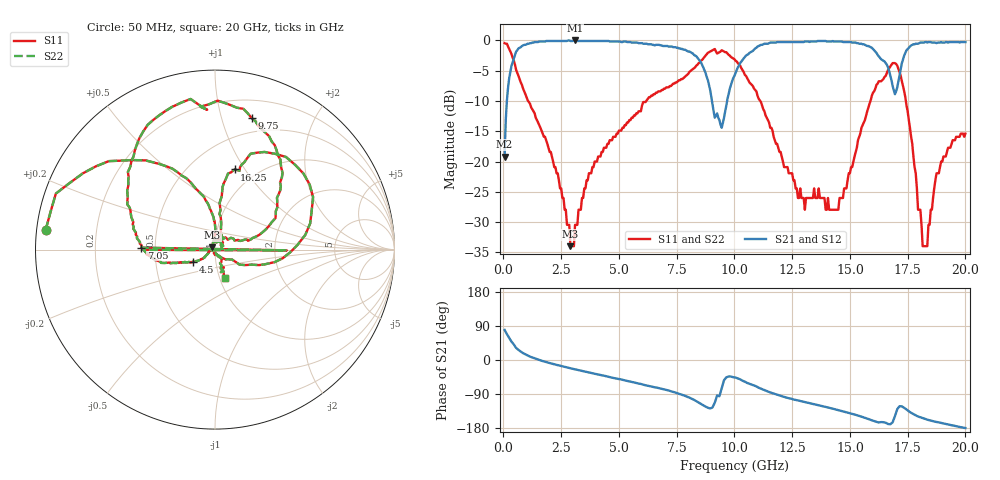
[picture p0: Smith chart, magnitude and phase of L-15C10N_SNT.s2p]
#	mhz	s	ma	r	50
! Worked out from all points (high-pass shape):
!   400 points, 50 MHz to 20 GHz, reference 50 ohm
!   highest |S21| = 0.00 dB at 3.1 GHz (marker M1); lowest = -19.2 dB at 50 MHz (marker M2)
!   |S21| within 3 dB of the highest: 448 MHz to 8.43 GHz (7.982 GHz wide, 180 % of centre); 10.39 GHz to 16.33 GHz (5.935 GHz wide, 44.4 % of centre) (the widest 2 of 3)
!   lowest |S11| = -34.0 dB at 2.9 GHz (marker M3), VSWR 1.04, Z = 48.5 + j1.28 ohm
!   |S11| at or under -10 dB: 1.069 GHz to 6.181 GHz (5.113 GHz wide, 141 % of centre); 11.12 GHz to 15.89 GHz (4.772 GHz wide, 35.3 % of centre); 17.42 GHz to end of sweep
!   |S22| runs from -34.0 to -0.4 dB; largest |S21 - S12| = 0
!   S11 on the Smith chart (normalised r, x): 50 MHz: 0.03, +0.06; 4.5 GHz: 0.78, -0.11; 7.05 GHz: 0.42, +0.01; 9.75 GHz: 0.36, +1.25; 16.25 GHz: 0.79, +0.90; 20 GHz: 1.06, -0.35
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50  0.95 173.4  0.11 79.3  0.11 79.3  0.95 173.4
550  0.57 123.1  0.81 31.6  0.81 31.6  0.57 123.1
2900  0.02 138.9  0.99 -21.8  0.99 -21.8  0.02 138.9
3100  0.03 2.2  1 -24.6  1 -24.6  0.03 2.2
3400  0.05 -150.0  0.99 -28.8  0.99 -28.8  0.05 -150.0
4500  0.14 -150.3  0.99 -43.8  0.99 -43.8  0.14 -150.3
6700  0.38 -175.7  0.92 -73.8  0.92 -73.8  0.38 -175.7
6950  0.4 -179.8  0.9 -77.3  0.9 -77.3  0.4 -179.8
7000  0.4 -0.6  0.9 -78.1  0.9 -78.1  0.4 -0.6
7050  0.41 178.5  0.9 -79.0  0.9 -79.0  0.41 178.5
8750  0.75 124.2  0.54 -123.0  0.54 -123.0  0.75 124.2
9450  0.83 89.0  0.19 -74.0  0.19 -74.0  0.83 89.0
9750  0.76 74.3  0.36 -43.4  0.36 -43.4  0.76 74.3
10050  0.68 62.3  0.54 -46.3  0.54 -46.3  0.68 62.3
11300  0.26 18.4  0.94 -79.5  0.94 -79.5  0.26 18.4
13350  0.05 81.9  0.98 -115.1  0.98 -115.1  0.05 81.9
14500  0.04 24.2  0.98 -132.2  0.98 -132.2  0.04 24.2
16250  0.46 76.2  0.74 -164.8  0.74 -164.8  0.46 76.2
16700  0.59 66.3  0.56 -169.3  0.56 -169.3  0.59 66.3
17400  0.34 -11.8  0.79 -128.3  0.79 -128.3  0.34 -11.8
18150  0.02 -79.0  0.96 -153.2  0.96 -153.2  0.02 -79.0
20000  0.17 -70.3  0.97 -179.5  0.97 -179.5  0.17 -70.3
